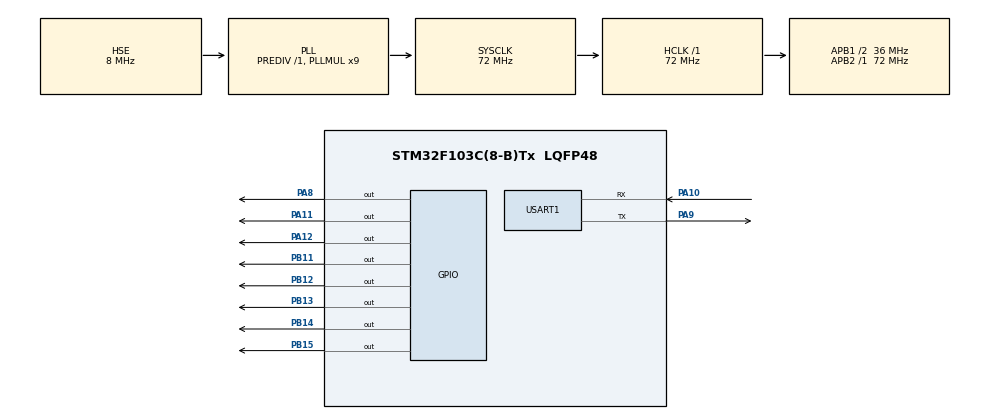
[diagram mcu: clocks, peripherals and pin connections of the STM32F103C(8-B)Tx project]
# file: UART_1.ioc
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Mcu.Family=STM32F1
Mcu.Name=STM32F103C(8-B)Tx
Mcu.Package=LQFP48
NVIC.PriorityGroup=NVIC_PRIORITYGROUP_4
NVIC.USART1_IRQn=true\:0\:0\:false\:false\:true\:true\:true\:true
PA10.Mode=Asynchronous
PA10.Signal=USART1_RX
PA11.Signal=GPIO_Output
PA12.Signal=GPIO_Output
PA13.Mode=Serial_Wire
PA13.Signal=SYS_JTMS-SWDIO
PA14.Mode=Serial_Wire
PA14.Signal=SYS_JTCK-SWCLK
PA8.Signal=GPIO_Output
PA9.Mode=Asynchronous
PA9.Signal=USART1_TX
PB11.Signal=GPIO_Output
PB12.Signal=GPIO_Output
PB13.Signal=GPIO_Output
PB14.Signal=GPIO_Output
PB15.Signal=GPIO_Output
PD0-OSC_IN.Mode=HSE-External-Oscillator
PD0-OSC_IN.Signal=RCC_OSC_IN
PD1-OSC_OUT.Mode=HSE-External-Oscillator
PD1-OSC_OUT.Signal=RCC_OSC_OUT
ProjectManager.HeapSize=0x200
ProjectManager.StackSize=0x400
ProjectManager.TargetToolchain=MDK-ARM V5.32
RCC.AHBFreq_Value=72000000
RCC.APB1CLKDivider=RCC_HCLK_DIV2
RCC.APB1Freq_Value=36000000
RCC.APB1TimFreq_Value=72000000
RCC.APB2Freq_Value=72000000
RCC.APB2TimFreq_Value=72000000
RCC.HCLKFreq_Value=72000000
RCC.PLLMUL=RCC_PLL_MUL9
RCC.PLLSourceVirtual=RCC_PLLSOURCE_HSE
RCC.SYSCLKFreq_VALUE=72000000
RCC.SYSCLKSource=RCC_SYSCLKSOURCE_PLLCLK
RCC.USBFreq_Value=72000000
USART1.VirtualMode=VM_ASYNC
board=custom

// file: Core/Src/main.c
/* USER CODE BEGIN Header */
/**
  ******************************************************************************
  * @file           : main.c
  * @brief          : Main program body
  ******************************************************************************
  * @attention
  *
  * Copyright (c) 2022 STMicroelectronics.
  * All rights reserved.
  *
  * This software is licensed under terms that can be found in the LICENSE file
  * in the root directory of this software component.
  * If no LICENSE file comes with this software, it is provided AS-IS.
  *
  ******************************************************************************
  */
/* USER CODE END Header */
#include "main.h"

/* USER CODE BEGIN Includes */
#include "stdio.h"
/* USER CODE END Includes */

 UART_HandleTypeDef huart1;

void SystemClock_Config(void);
static void MX_GPIO_Init(void);
static void MX_USART1_UART_Init(void);

/* USER CODE BEGIN 0 */
uint8_t send_data[18] = {"STM32F103-UART\r\n"};
uint8_t data_receive[15];
uint8_t data_copy[3];
uint8_t dem = 0;
uint8_t value[15];
uint8_t heso[] = {100,10,1};
uint8_t flag = 0;
uint8_t ptu = 0;
/* USER CODE END 0 */

int main(void)
{

  /* MCU Configuration--------------------------------------------------------*/

  /* Reset of all peripherals, Initializes the Flash interface and the Systick. */
  HAL_Init();

  /* Configure the system clock */
  SystemClock_Config();

  /* Initialize all configured peripherals */
  MX_GPIO_Init();
  MX_USART1_UART_Init();
  /* USER CODE BEGIN 2 */
	HAL_UART_Receive_IT(&huart1, &data_receive[0], 1);

  /* USER CODE END 2 */

  /* Infinite loop */
  /* USER CODE BEGIN WHILE */
	ptu = 0;
  while (1)
  {
    /* USER CODE END WHILE */

    /* USER CODE BEGIN 3 */
		if(flag == 1)
		{
			if(data_copy[0] == '*' && data_copy[2] == '#')
			{
				HAL_GPIO_WritePin(GPIOA, GPIO_PIN_12, (data_copy[1]>>7) & 0x01);
				HAL_GPIO_WritePin(GPIOA, GPIO_PIN_11, (data_copy[1]>>6) & 0x01);
				HAL_GPIO_WritePin(GPIOA, GPIO_PIN_8, (data_copy[1]>>5) & 0x01);
				HAL_GPIO_WritePin(GPIOB, GPIO_PIN_11, (data_copy[1]>>4) & 0x01);
				HAL_GPIO_WritePin(GPIOB, GPIO_PIN_12, (data_copy[1]>>3) & 0x01);
				HAL_GPIO_WritePin(GPIOB, GPIO_PIN_13, (data_copy[1]>>2) & 0x01);
				HAL_GPIO_WritePin(GPIOB, GPIO_PIN_14, (data_copy[1]>>1) & 0x01);
				HAL_GPIO_WritePin(GPIOB, GPIO_PIN_15, (data_copy[1]>>0) & 0x01);
				flag = 0;
			}

		}
		if(ptu == 3)
			{
				ptu = 0;
			}
  }
  /* USER CODE END 3 */
}

void SystemClock_Config(void)
{
  RCC_OscInitTypeDef RCC_OscInitStruct = {0};
  RCC_ClkInitTypeDef RCC_ClkInitStruct = {0};

  /** Initializes the RCC Oscillators according to the specified parameters
  * in the RCC_OscInitTypeDef structure.
  */
  RCC_OscInitStruct.OscillatorType = RCC_OSCILLATORTYPE_HSE;
  RCC_OscInitStruct.HSEState = RCC_HSE_ON;
  RCC_OscInitStruct.HSEPredivValue = RCC_HSE_PREDIV_DIV1;
  RCC_OscInitStruct.HSIState = RCC_HSI_ON;
  RCC_OscInitStruct.PLL.PLLState = RCC_PLL_ON;
  RCC_OscInitStruct.PLL.PLLSource = RCC_PLLSOURCE_HSE;
  RCC_OscInitStruct.PLL.PLLMUL = RCC_PLL_MUL9;
  if (HAL_RCC_OscConfig(&RCC_OscInitStruct) != HAL_OK)
  {
    Error_Handler();
  }

  /** Initializes the CPU, AHB and APB buses clocks
  */
  RCC_ClkInitStruct.ClockType = RCC_CLOCKTYPE_HCLK|RCC_CLOCKTYPE_SYSCLK
                              |RCC_CLOCKTYPE_PCLK1|RCC_CLOCKTYPE_PCLK2;
  RCC_ClkInitStruct.SYSCLKSource = RCC_SYSCLKSOURCE_PLLCLK;
  RCC_ClkInitStruct.AHBCLKDivider = RCC_SYSCLK_DIV1;
  RCC_ClkInitStruct.APB1CLKDivider = RCC_HCLK_DIV2;
  RCC_ClkInitStruct.APB2CLKDivider = RCC_HCLK_DIV1;

  if (HAL_RCC_ClockConfig(&RCC_ClkInitStruct, FLASH_LATENCY_2) != HAL_OK)
  {
    Error_Handler();
  }
}

static void MX_USART1_UART_Init(void)
{

  huart1.Instance = USART1;
  huart1.Init.BaudRate = 115200;
  huart1.Init.WordLength = UART_WORDLENGTH_8B;
  huart1.Init.StopBits = UART_STOPBITS_1;
  huart1.Init.Parity = UART_PARITY_NONE;
  huart1.Init.Mode = UART_MODE_TX_RX;
  huart1.Init.HwFlowCtl = UART_HWCONTROL_NONE;
  huart1.Init.OverSampling = UART_OVERSAMPLING_16;
  if (HAL_UART_Init(&huart1) != HAL_OK)
  {
    Error_Handler();
  }

}

static void MX_GPIO_Init(void)
{
  GPIO_InitTypeDef GPIO_InitStruct = {0};

  /* GPIO Ports Clock Enable */
  __HAL_RCC_GPIOD_CLK_ENABLE();
  __HAL_RCC_GPIOB_CLK_ENABLE();
  __HAL_RCC_GPIOA_CLK_ENABLE();

  /*Configure GPIO pin Output Level */
  HAL_GPIO_WritePin(GPIOB, GPIO_PIN_11|GPIO_PIN_12|GPIO_PIN_13|GPIO_PIN_14
                          |GPIO_PIN_15, GPIO_PIN_RESET);

  /*Configure GPIO pin Output Level */
  HAL_GPIO_WritePin(GPIOA, GPIO_PIN_8|GPIO_PIN_11|GPIO_PIN_12, GPIO_PIN_RESET);

  /*Configure GPIO pins : PB11 PB12 PB13 PB14
                           PB15 */
  GPIO_InitStruct.Pin = GPIO_PIN_11|GPIO_PIN_12|GPIO_PIN_13|GPIO_PIN_14
                          |GPIO_PIN_15;
  GPIO_InitStruct.Mode = GPIO_MODE_OUTPUT_PP;
  GPIO_InitStruct.Pull = GPIO_NOPULL;
  GPIO_InitStruct.Speed = GPIO_SPEED_FREQ_LOW;
  HAL_GPIO_Init(GPIOB, &GPIO_InitStruct);

  /*Configure GPIO pins : PA8 PA11 PA12 */
  GPIO_InitStruct.Pin = GPIO_PIN_8|GPIO_PIN_11|GPIO_PIN_12;
  GPIO_InitStruct.Mode = GPIO_MODE_OUTPUT_PP;
  GPIO_InitStruct.Pull = GPIO_NOPULL;
  GPIO_InitStruct.Speed = GPIO_SPEED_FREQ_LOW;
  HAL_GPIO_Init(GPIOA, &GPIO_InitStruct);

}

void Error_Handler(void)
{
  __disable_irq();
  while (1)
  {
  }
}
